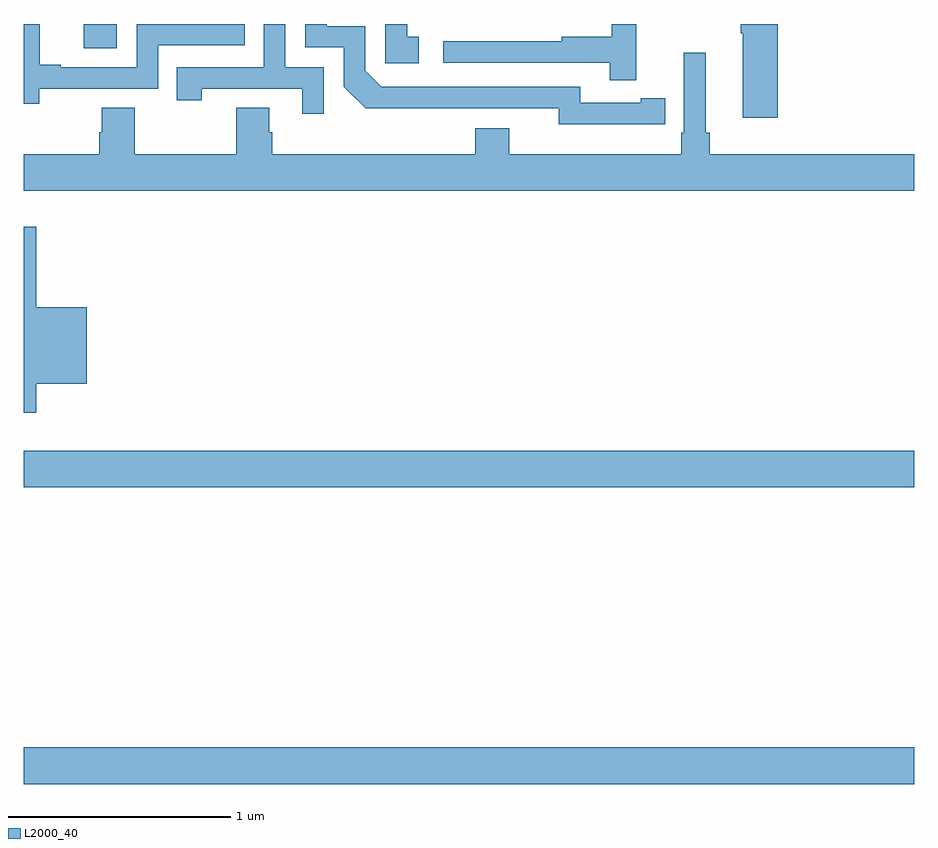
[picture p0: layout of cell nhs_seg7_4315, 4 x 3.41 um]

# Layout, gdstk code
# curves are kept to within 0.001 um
import gdstk
lib = gdstk.Library(unit=1e-6, precision=1e-09)
def R(c, l, rs):  # rectangles x0, y0, x1, y1
    for r in rs: c.add(gdstk.rectangle(r[:2], r[2:], *l))
def P(c, l, *ps):  # polygons
    for p in ps: c.add(gdstk.Polygon(p, *l))
L2000_40 = (2000, 40)

nhs_seg7_4315 = lib.new_cell('nhs_seg7_4315')
R(nhs_seg7_4315, L2000_40, [(383,1028.588,387,1028.752), (383,1029.92,387,1030.084), (383.271,1031.892,383.418,1032)])
P(nhs_seg7_4315, L2000_40, [(384.775,1031.943),(384.722,1031.943),(384.722,1032),(384.624,1032),(384.624,1031.823),(384.775,1031.823)],
  [(386.387,1032),(386.221,1032),(386.221,1031.959),(386.228,1031.959),(386.228,1031.58),(386.387,1031.58)],
  [(383.07,1031.709),(383.604,1031.709),(383.604,1031.904),(383.993,1031.904),(383.993,1032),(383.508,1032),(383.508,1031.805),(383.167,1031.805),(383.167,1031.818),(383.072,1031.818),(383.072,1032),(383,1032),(383,1031.641),(383.07,1031.641)],
  [(385.772,1031.55),(385.88,1031.55),(385.88,1031.666),(385.772,1031.666),(385.772,1031.646),(385.5,1031.646),(385.5,1031.718),(384.606,1031.718),(384.534,1031.79),(384.534,1031.991),(384.361,1031.991),(384.361,1032),(384.264,1032),(384.264,1031.895),(384.438,1031.895),(384.438,1031.718),(384.536,1031.621),(385.404,1031.622),(385.404,1031.549)],
  [(385.751,1032),(385.641,1032),(385.641,1031.942),(385.417,1031.942),(385.417,1031.922),(384.885,1031.922),(384.885,1031.826),(385.633,1031.826),(385.633,1031.748),(385.751,1031.748)],
  [(384.348,1031.805),(384.174,1031.805),(384.174,1032),(384.078,1032),(384.078,1031.805),(383.689,1031.805),(383.689,1031.658),(383.8,1031.658),(383.8,1031.709),(384.251,1031.709),(384.251,1031.598),(384.348,1031.598)],
  [(387,1031.416),(386.081,1031.416),(386.081,1031.512),(386.062,1031.512),(386.062,1031.872),(385.965,1031.872),(385.965,1031.512),(385.952,1031.512),(385.952,1031.416),(385.18,1031.416),(385.18,1031.533),(385.028,1031.533),(385.028,1031.416),(384.116,1031.416),(384.116,1031.514),(384.103,1031.514),(384.103,1031.624),(383.956,1031.624),(383.956,1031.416),(383.499,1031.416),(383.499,1031.624),(383.351,1031.624),(383.351,1031.514),(383.339,1031.514),(383.339,1031.416),(383,1031.416),(383,1031.252),(387,1031.252)],
  [(383.057,1030.385),(383.284,1030.385),(383.284,1030.729),(383.057,1030.729),(383.057,1031.089),(383,1031.089),(383,1030.254),(383.057,1030.254)])

lib.write_gds('nhs_seg7_4315.gds')
